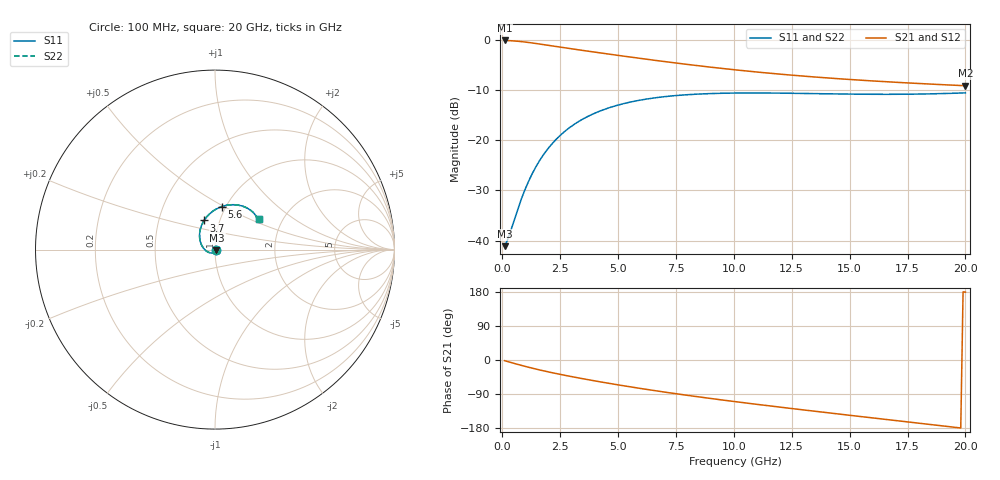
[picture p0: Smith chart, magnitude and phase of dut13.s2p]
! Touchstone file exported from HFSS 2024.1.0
!  File:  C:/UserFiles/LocalFiles/RDL_TSV_Batchsim/temp_RDL_TSV_13_1779398043.aedt
!  Generated:  05:27:18 AM May 22, 2026
!  Design:  RDL_TSV
!  Project:  temp_RDL_TSV_13_1779398043
!  Setup:  Setup1
!  Solution:  Sweep
! Variables:
!  dtsv = 11.23um
!  hbump = 3um
!  htsv = 92.6um
!  ldown = 226.6um
!  lrdl = 409.04um
!  p = 40
!  p1 = 58.41um
!  rhole = 10um
!  subl = 2315.96um
!  t = 450um
!  tdown = 4.14um
!  trdl = 4.96um
!  viad = 10um
!  wdown = 19.79um
!  wrdl = 25.35um
!  xbump = 18um
# GHz S MA R 50.000000
! Terminal data exported
! Port[1] = TM1_1_T1
! Port[2] = TM1_4_T1
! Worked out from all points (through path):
!   200 points, 100 MHz to 20 GHz, reference 50 ohm
!   highest |S21| = -0.08 dB at 100 MHz (marker M1); lowest = -9.1 dB at 20 GHz (marker M2)
!   group delay of S21, straight-line fit = 23.4 ps
!   lowest |S11| = -41.1 dB at 100 MHz (marker M3), VSWR 1.02, Z = 50.8 - j0.323 ohm
!   |S11| at or under -10 dB: start of sweep to end of sweep
!   |S22| runs from -41.1 to -10.5 dB; largest |S21 - S12| = 1e-14
!   S11 on the Smith chart (normalised r, x): 100 MHz: 1.02, -0.01; 3.7 GHz: 0.84, +0.28; 5.6 GHz: 0.96, +0.49; 20 GHz: 1.51, +0.57
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0.1  0.008804 -21.1  0.9909 -1.8  0.9909 -1.8  0.008804 -21.1
! Gamma 0 0 0 0
! Port Impedance 50 0 50 0
0.2  0.009831 -41.9  0.9892 -3.6  0.9892 -3.6  0.00983 -41.9
0.3  0.01136 -61.4  0.9868 -5.3  0.9868 -5.3  0.01136 -61.4
0.7  0.02164 -119.1  0.9714 -12.2  0.9714 -12.2  0.02164 -119.1
1  0.03303 -147.3  0.9547 -17.1  0.9547 -17.1  0.03304 -147.3
1.3  0.04681 -168.3  0.9351 -21.7  0.9351 -21.7  0.04682 -168.3
1.6  0.06222 175.1  0.914 -26.1  0.914 -26.1  0.06223 175.1
2  0.08413 157.5  0.8854 -31.5  0.8854 -31.5  0.08416 157.5
2.4  0.1065 143.3  0.8573 -36.7  0.8573 -36.7  0.1065 143.3
2.9  0.1337 128.8  0.824 -42.8  0.824 -42.8  0.1337 128.8
3.5  0.164 114.6  0.7866 -49.7  0.7866 -49.7  0.1641 114.6
3.7  0.1734 110.5  0.7747 -51.9  0.7747 -51.9  0.1735 110.5
4.6  0.2108 94.7  0.7243 -61.5  0.7243 -61.5  0.2109 94.7
5.6  0.2427 81.0  0.6734 -71.6  0.6734 -71.6  0.2428 81.0
6.8  0.2692 68.3  0.6188 -82.8  0.6188 -82.8  0.2693 68.3
8.4  0.2888 55.8  0.5568 -96.6  0.5568 -96.6  0.2889 55.8
10.1  0.2963 46.5  0.5035 -110.2  0.5035 -110.2  0.2964 46.5
11.7  0.2962 40.6  0.4635 -122.3  0.4635 -122.3  0.2962 40.6
13.4  0.2926 36.7  0.4298 -134.6  0.4298 -134.6  0.2926 36.7
15  0.2891 34.8  0.4044 -145.9  0.4044 -145.9  0.2891 34.8
16.7  0.2877 34.2  0.3826 -157.8  0.3826 -157.8  0.2877 34.3
20  0.2975 35.2  0.3504 179.2  0.3504 179.2  0.2975 35.2
